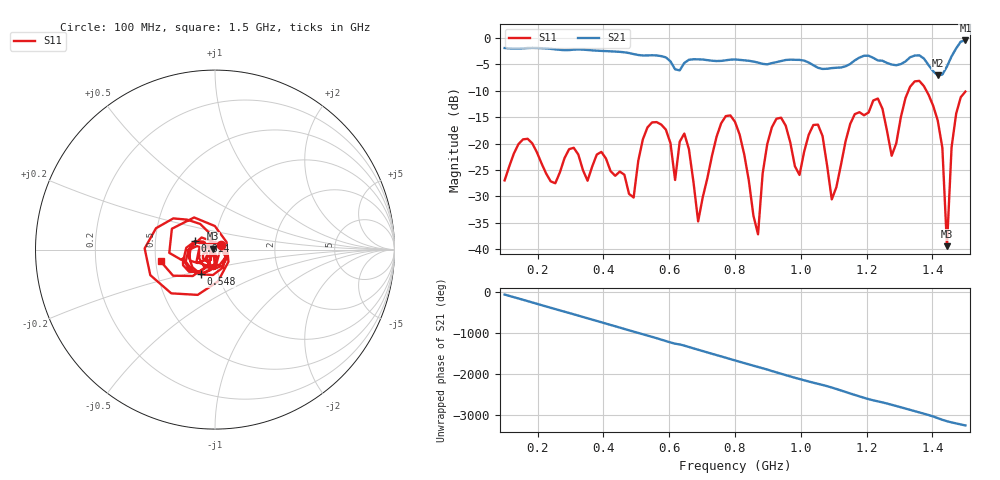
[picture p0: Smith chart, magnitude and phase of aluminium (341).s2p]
! NanoVNA-App
! Date: 2025-09-25 14:57:56
! Start: 100MHz Stop: 1,5GHz Points: 101
! S-Parameter data: F S11 S21 S12 S22
# Hz S RI R 50
!  Frequency  S11_Real  S11_Imag  S21_Real  S21_Imag  S12_Real  S12_Imag  S22_Real  S22_Imag
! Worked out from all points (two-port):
!   101 points, 100 MHz to 1.5 GHz, reference 50 ohm
!   highest |S21| = -0.49 dB at 1.5 GHz (marker M1); lowest = -7.1 dB at 1.416 GHz (marker M2)
!   |S21| within 3 dB of the highest: start of sweep to 578.1 MHz; 1.458 GHz to end of sweep (the widest 2 of 4)
!   lowest |S11| = -39.4 dB at 1.444 GHz (marker M3), VSWR 1.02, Z = 49.1 + j0.559 ohm
!   |S11| at or under -10 dB: start of sweep to 1.327 GHz; 1.382 GHz to end of sweep
!   S12 and S22 are empty: the file has one direction only
!   S11 on the Smith chart (normalised r, x): 100 MHz: 1.07, +0.06; 548 MHz: 0.82, -0.23; 814 MHz: 0.79, +0.07; 1.5 GHz: 0.53, -0.08
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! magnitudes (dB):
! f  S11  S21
! 100 MHz  -27.0  -1.9
! 338 MHz  -25.0  -2.2
! 492 MHz  -30.2  -3.1
! 548 MHz  -16.0  -3.3
! 576 MHz  -16.4  -3.5
! 618 MHz  -26.9  -6.0
! 646 MHz  -18.1  -4.7
! 688 MHz  -34.7  -4.1
! 800 MHz  -15.9  -4.1
! 814 MHz  -18.3  -4.2
! 870 MHz  -37.1  -4.7
! 912 MHz  -16.9  -4.8
! 996 MHz  -25.9  -4.2
! 1.038 GHz  -16.5  -5.2
! 1.094 GHz  -30.5  -5.7
! 1.22 GHz  -11.9  -3.8
! 1.276 GHz  -22.3  -5.0
! 1.346 GHz  -8.2  -3.4
! 1.416 GHz  -15.6  -7.1
! 1.444 GHz  -39.4  -5.4
! 1.458 GHz  -20.7  -3.5
! 1.5 GHz  -10.2  -0.5
